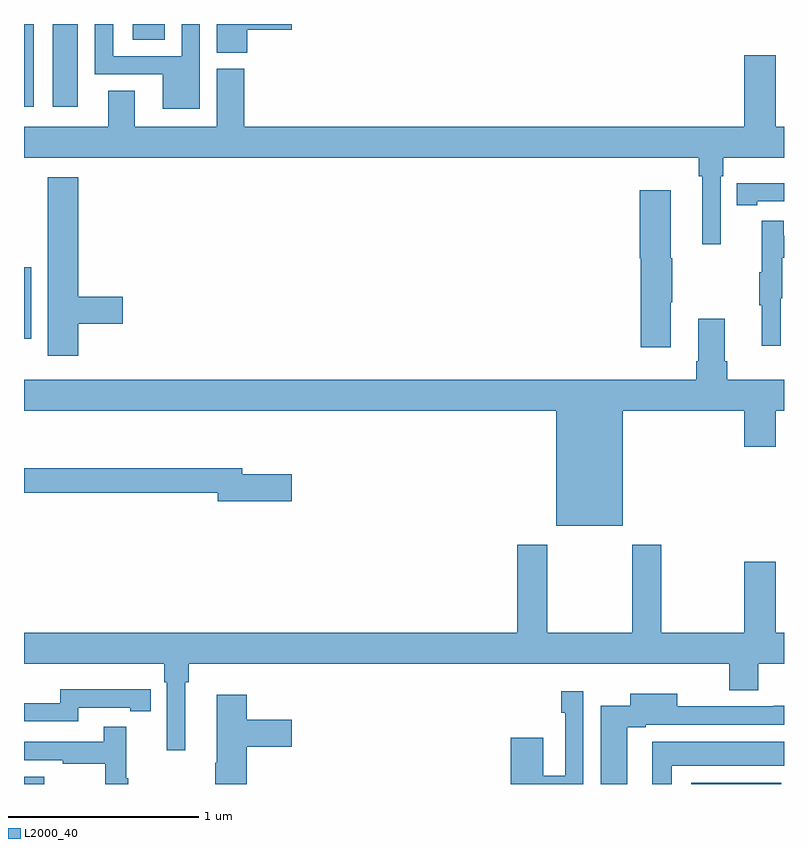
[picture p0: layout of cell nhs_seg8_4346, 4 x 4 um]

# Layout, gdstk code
import gdstk
lib = gdstk.Library(unit=1e-6, precision=1e-09)
def R(c, l, rs):  # rectangles x0, y0, x1, y1
    for r in rs: c.add(gdstk.rectangle(r[:2], r[2:], *l))
def P(c, l, *ps):  # polygons
    for p in ps: c.add(gdstk.Polygon(p, *l))
L2000_40 = (2000, 40)

nhs_seg8_4346 = lib.new_cell('nhs_seg8_4346')
R(nhs_seg8_4346, L2000_40, [(377,1083.9,377.107,1083.937), (380.511,1083.9,380.986,1083.907), (377,1086.243,377.037,1086.619), (377,1087.464,377.05,1087.9), (377.15,1087.464,377.284,1087.9), (377.573,1087.816,377.74,1087.9)])
P(nhs_seg8_4346, L2000_40, [(378.176,1087.871),(378.409,1087.871),(378.409,1087.9),(378.014,1087.9),(378.014,1087.75),(378.176,1087.75)],
  [(377.925,1087.9),(377.829,1087.9),(377.829,1087.731),(377.469,1087.731),(377.469,1087.9),(377.373,1087.9),(377.373,1087.635),(377.729,1087.635),(377.729,1087.454),(377.925,1087.454)],
  [(378.158,1087.665),(378.014,1087.665),(378.014,1087.36),(377.584,1087.36),(377.584,1087.55),(377.444,1087.55),(377.444,1087.36),(377,1087.36),(377,1087.196),(380.551,1087.196),(380.551,1087.1),(380.57,1087.1),(380.57,1086.741),(380.667,1086.741),(380.667,1087.1),(380.681,1087.1),(380.681,1087.196),(381,1087.196),(381,1087.36),(380.956,1087.36),(380.956,1087.735),(380.792,1087.735),(380.792,1087.36),(378.158,1087.36)],
  [(377.285,1086.322),(377.521,1086.322),(377.521,1086.464),(377.285,1086.464),(377.285,1087.093),(377.126,1087.093),(377.126,1086.153),(377.285,1086.153)],
  [(380.86,1086.966),(381,1086.966),(381,1087.063),(380.86,1087.063),(380.86,1087.062),(380.752,1087.062),(380.752,1086.946),(380.86,1086.946)],
  [(380.404,1086.436),(380.412,1086.436),(380.412,1086.666),(380.404,1086.666),(380.404,1087.024),(380.24,1087.024),(380.24,1086.666),(380.246,1086.666),(380.246,1086.198),(380.404,1086.198)],
  [(380.984,1086.456),(380.992,1086.456),(380.992,1086.67),(381,1086.67),(381,1086.786),(380.999,1086.786),(380.999,1086.865),(380.882,1086.865),(380.882,1086.593),(380.871,1086.593),(380.871,1086.419),(380.882,1086.419),(380.882,1086.207),(380.984,1086.207)],
  [(380.152,1085.864),(380.792,1085.864),(380.792,1085.676),(380.956,1085.676),(380.956,1085.864),(381,1085.864),(381,1086.028),(380.702,1086.028),(380.702,1086.124),(380.689,1086.124),(380.689,1086.349),(380.549,1086.349),(380.549,1086.124),(380.537,1086.124),(380.537,1086.028),(377,1086.028),(377,1085.864),(379.802,1085.864),(379.802,1085.258),(380.152,1085.258)],
  [(378.409,1085.529),(378.148,1085.529),(378.148,1085.563),(377,1085.563),(377,1085.434),(378.02,1085.434),(378.02,1085.387),(378.409,1085.387)],
  [(377.848,1084.436),(377.867,1084.436),(377.867,1084.532),(380.711,1084.532),(380.711,1084.393),(380.864,1084.393),(380.864,1084.532),(381,1084.532),(381,1084.696),(380.956,1084.696),(380.956,1085.071),(380.792,1085.071),(380.792,1084.696),(380.355,1084.696),(380.355,1085.158),(380.2,1085.158),(380.2,1084.696),(379.755,1084.696),(379.755,1085.158),(379.595,1085.158),(379.595,1084.696),(377,1084.696),(377,1084.532),(377.738,1084.532),(377.738,1084.436),(377.751,1084.436),(377.751,1084.077),(377.848,1084.077)],
  [(377.286,1084.302),(377.558,1084.302),(377.558,1084.282),(377.666,1084.282),(377.666,1084.398),(377.558,1084.398),(377.558,1084.399),(377.19,1084.399),(377.19,1084.326),(377,1084.326),(377,1084.23),(377.286,1084.23)],
  [(379.944,1084.387),(379.828,1084.387),(379.828,1084.274),(379.848,1084.274),(379.848,1083.944),(379.732,1083.944),(379.732,1084.144),(379.562,1084.144),(379.562,1083.9),(379.944,1083.9)],
  [(380.176,1084.2),(380.272,1084.2),(380.272,1084.212),(381,1084.212),(381,1084.311),(380.947,1084.311),(380.947,1084.308),(380.437,1084.308),(380.437,1084.375),(380.192,1084.375),(380.192,1084.311),(380.036,1084.311),(380.036,1083.9),(380.176,1083.9)],
  [(378.173,1084.097),(378.409,1084.097),(378.409,1084.239),(378.173,1084.239),(378.173,1084.369),(378.014,1084.369),(378.014,1084.013),(378.007,1084.013),(378.007,1083.9),(378.173,1083.9)],
  [(377.548,1083.929),(377.537,1083.929),(377.537,1084.201),(377.419,1084.201),(377.419,1084.122),(377,1084.122),(377,1084.026),(377.203,1084.026),(377.203,1084.006),(377.427,1084.006),(377.427,1083.9),(377.548,1083.9)],
  [(380.41,1083.995),(381,1083.995),(381,1084.123),(380.306,1084.123),(380.306,1083.9),(380.41,1083.9)])

lib.write_gds('nhs_seg8_4346.gds')
